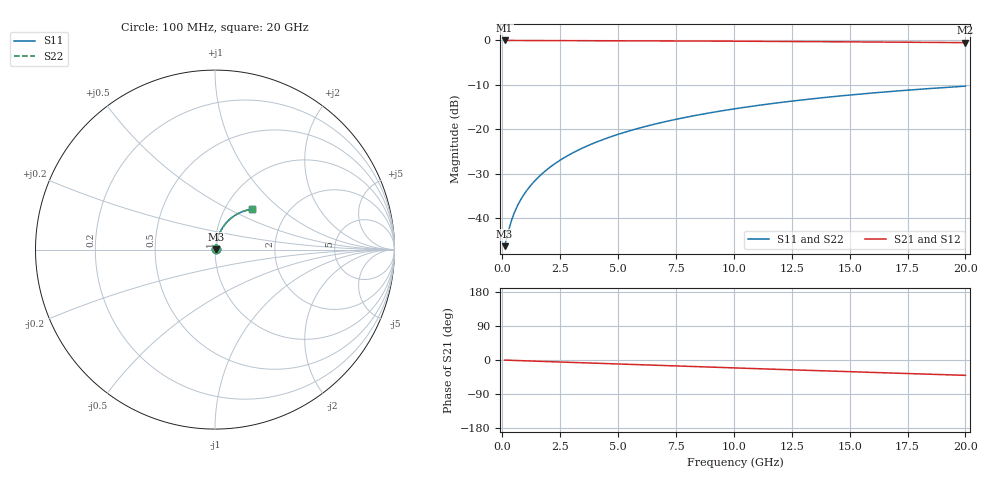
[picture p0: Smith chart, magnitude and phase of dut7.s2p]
! Touchstone file exported from HFSS 2026.1.0
!  File:  C:/ffzhzh/LocalFiles/Ansys_Project_Files/temp_train_TMRDL_7_1782879969_14008.aedt
!  Generated:  12:28:58 PM Jul  1, 2026
!  Design:  TMRDL
!  Project:  temp_train_TMRDL_7_1782879969_14008
! Variables:
!  h_bsmrdl = 2um
!  h_ox = 20um
!  h_rdl = 5um
!  h_sub = 80um
!  h_tmrdl = 2.03um
!  h_tsv = 80um
!  h_via = 3um
!  l_bsmrdl = 300um
!  l_sub = 1017.02um
!  l_tmrdl = 617.02um
!  m_sub = 200um
!  pitch = 45.12um
!  r_tsv = 6um
!  s_tmrdl = 10um
!  w_bsmrdl = 18um
!  w_sub = 500um
!  w_tmrdl = 27.23um
!  x_tsv_center1 = 630.635um
!  x_tsv_center2 = 948.635um
!  x_tsv_center3 = 1592.885um
!  x_tsv_center4 = 1910.885um
!  x_tsv_center5 = 2555.135um
!  x_tsv_center6 = 2873.135um
# GHz S MA R 50.000000
! Terminal data exported
! Port[1] = TM_RDL1_1_T1
! Port[2] = TM_RDL1_1_T2
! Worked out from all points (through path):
!   200 points, 100 MHz to 20 GHz, reference 50 ohm
!   highest |S21| = -0.04 dB at 100 MHz (marker M1); lowest = -0.5 dB at 20 GHz (marker M2)
!   group delay of S21, straight-line fit = 5.63 ps
!   lowest |S11| = -46.3 dB at 100 MHz (marker M3), VSWR 1.01, Z = 50.4 + j0.21 ohm
!   |S11| at or under -10 dB: start of sweep to end of sweep
!   |S22| runs from -46.3 to -10.3 dB; largest |S21 - S12| = 2.1e-15
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0.1  0.00483 25.5  0.9956 -0.2  0.9956 -0.2  0.00483 25.5
! Gamma 0 0 0 0
! Port Impedance 50 0 50 0
0.3  0.007724 51.9  0.9953 -0.7  0.9953 -0.7  0.007724 51.9
0.4  0.009422 57.6  0.995 -0.9  0.995 -0.9  0.009422 57.6
0.5  0.01113 61.4  0.9948 -1.1  0.9948 -1.1  0.01113 61.4
0.6  0.01282 64.1  0.9946 -1.3  0.9946 -1.3  0.01282 64.1
0.7  0.0145 66.1  0.9944 -1.5  0.9944 -1.5  0.0145 66.1
0.9  0.01783 69.1  0.9941 -2.0  0.9941 -2.0  0.01783 69.1
1.2  0.02282 72.0  0.9937 -2.6  0.9937 -2.6  0.02282 72.0
1.4  0.02617 73.4  0.9935 -3.0  0.9935 -3.0  0.02617 73.4
1.7  0.03122 74.7  0.9933 -3.6  0.9933 -3.6  0.03122 74.7
2.2  0.03971 76.0  0.9928 -4.7  0.9928 -4.7  0.03971 76.0
2.8  0.04996 76.5  0.9922 -5.9  0.9922 -5.9  0.04996 76.5
3.5  0.06195 76.4  0.9914 -7.4  0.9914 -7.4  0.06195 76.4
4.2  0.0739 75.8  0.9904 -8.9  0.9904 -8.9  0.0739 75.8
5  0.08749 74.8  0.9892 -10.6  0.9892 -10.6  0.0875 74.8
5.9  0.1026 73.5  0.9875 -12.4  0.9875 -12.4  0.1027 73.5
6.8  0.1176 72.1  0.9856 -14.3  0.9856 -14.3  0.1176 72.1
8.3  0.1421 69.4  0.982 -17.4  0.982 -17.4  0.1421 69.4
10.1  0.1706 66.1  0.977 -21.1  0.977 -21.1  0.1706 66.1
13.4  0.2198 59.9  0.9662 -27.7  0.9662 -27.7  0.2198 59.9
16.7  0.2646 53.6  0.954 -34.2  0.954 -34.2  0.2646 53.6
20  0.3046 47.5  0.9414 -40.5  0.9414 -40.5  0.3046 47.5
